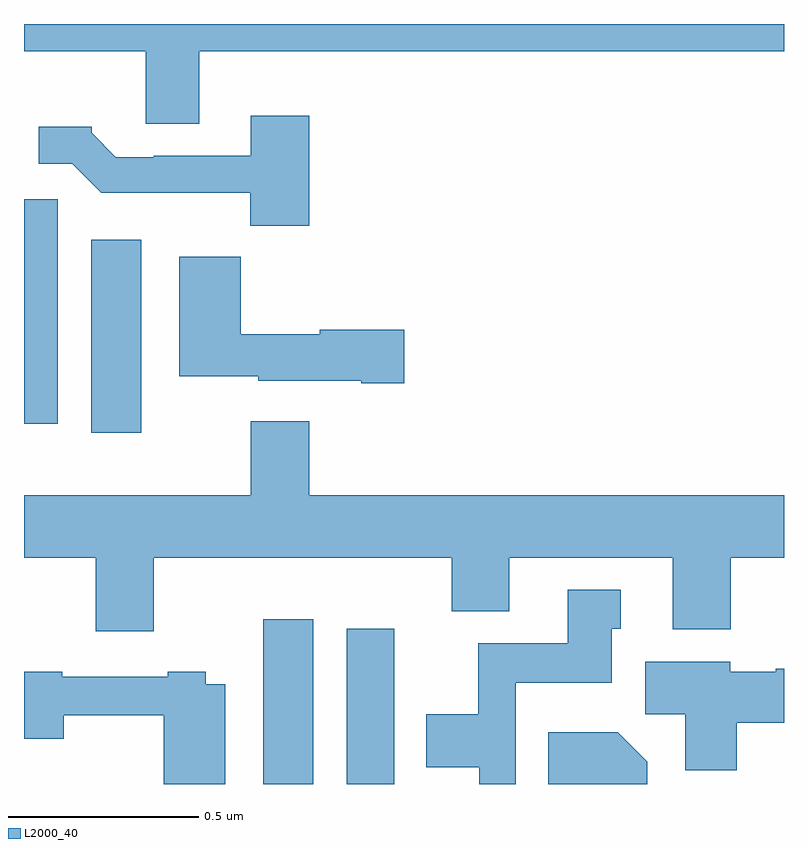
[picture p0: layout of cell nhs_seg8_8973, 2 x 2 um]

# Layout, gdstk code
import gdstk
lib = gdstk.Library(unit=1e-6, precision=1e-09)
def R(c, l, rs):  # rectangles x0, y0, x1, y1
    for r in rs: c.add(gdstk.rectangle(r[:2], r[2:], *l))
def P(c, l, *ps):  # polygons
    for p in ps: c.add(gdstk.Polygon(p, *l))
L2000_40 = (2000, 40)

nhs_seg8_8973 = lib.new_cell('nhs_seg8_8973')
R(nhs_seg8_8973, L2000_40, [(230.63,1119.9,230.761,1120.333), (230.849,1119.9,230.974,1120.309), (230.177,1120.824,230.308,1121.332), (230,1120.848,230.089,1121.439)])
P(nhs_seg8_8973, L2000_40, [(230.461,1121.828),(232,1121.828),(232,1121.9),(230,1121.9),(230,1121.828),(230.321,1121.828),(230.321,1121.638),(230.461,1121.638)],
  [(230.75,1121.659),(230.597,1121.659),(230.597,1121.553),(230.341,1121.553),(230.341,1121.55),(230.242,1121.55),(230.178,1121.614),(230.178,1121.629),(230.039,1121.629),(230.039,1121.532),(230.127,1121.532),(230.203,1121.456),(230.595,1121.456),(230.595,1121.369),(230.75,1121.369)],
  [(231.001,1121.096),(230.778,1121.096),(230.778,1121.083),(230.57,1121.083),(230.57,1121.287),(230.408,1121.287),(230.408,1120.973),(230.616,1120.973),(230.616,1120.961),(230.888,1120.961),(230.888,1120.954),(231.001,1120.954)],
  [(230.341,1120.496),(231.125,1120.496),(231.125,1120.355),(231.277,1120.355),(231.277,1120.496),(231.707,1120.496),(231.707,1120.307),(231.86,1120.307),(231.86,1120.496),(232,1120.496),(232,1120.66),(230.75,1120.66),(230.75,1120.855),(230.597,1120.855),(230.597,1120.66),(230,1120.66),(230,1120.496),(230.189,1120.496),(230.189,1120.302),(230.341,1120.302)],
  [(231.294,1120.166),(231.547,1120.166),(231.547,1120.308),(231.571,1120.308),(231.571,1120.411),(231.431,1120.411),(231.431,1120.27),(231.196,1120.27),(231.196,1120.084),(231.059,1120.084),(231.059,1119.944),(231.198,1119.944),(231.198,1119.9),(231.294,1119.9)],
  [(231.875,1120.061),(232,1120.061),(232,1120.203),(231.978,1120.203),(231.978,1120.195),(231.858,1120.195),(231.858,1120.222),(231.635,1120.222),(231.635,1120.084),(231.74,1120.084),(231.74,1119.936),(231.875,1119.936)],
  [(230.53,1120.162),(230.478,1120.162),(230.478,1120.195),(230.378,1120.195),(230.378,1120.182),(230.1,1120.182),(230.1,1120.195),(230,1120.195),(230,1120.019),(230.104,1120.019),(230.104,1120.081),(230.368,1120.081),(230.368,1119.9),(230.53,1119.9)],
  [(231.64,1119.958),(231.562,1120.036),(231.379,1120.036),(231.379,1119.9),(231.64,1119.9)])

lib.write_gds('nhs_seg8_8973.gds')
